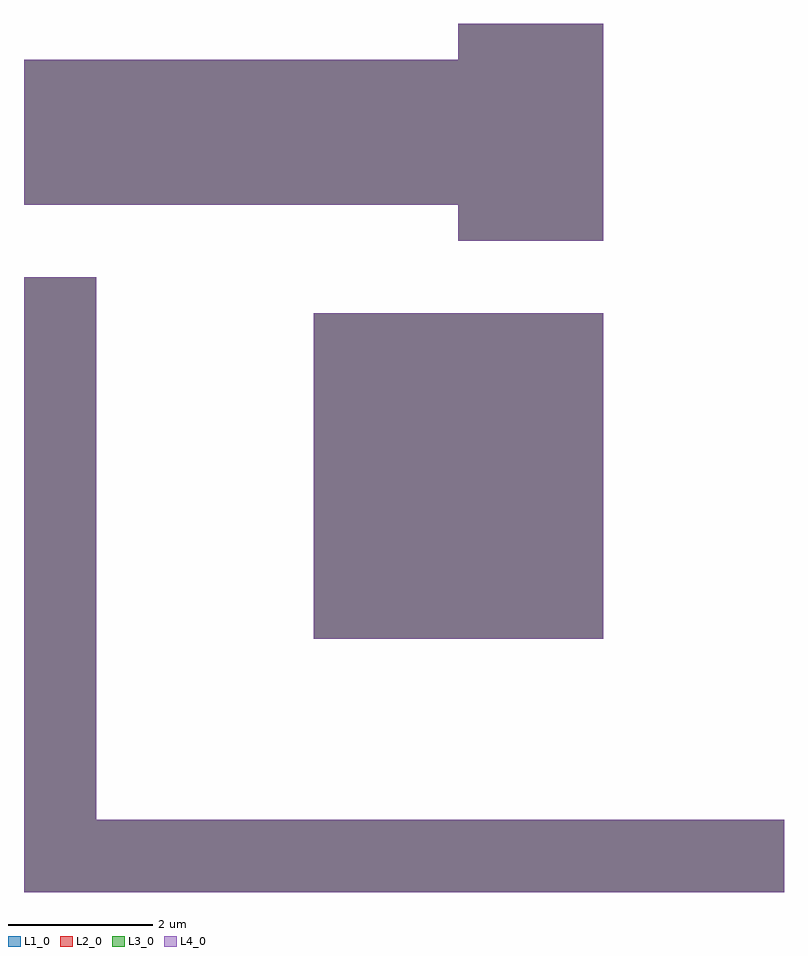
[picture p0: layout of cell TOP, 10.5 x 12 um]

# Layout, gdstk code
import gdstk
lib = gdstk.Library(unit=1e-6, precision=1e-09)
def R(c, l, rs):  # rectangles x0, y0, x1, y1
    for r in rs: c.add(gdstk.rectangle(r[:2], r[2:], *l))
def P(c, l, *ps):  # polygons
    for p in ps: c.add(gdstk.Polygon(p, *l))
L1_0 = (1, 0)
L2_0 = (2, 0)
L3_0 = (3, 0)
L4_0 = (4, 0)

top = lib.new_cell('TOP')
R(top, L1_0, [(4,3.5,8,8)])
P(top, L1_0, [(0,0),(0,8.5),(1,8.5),(1,1),(10.5,1),(10.5,0)],
  [(6,9),(6,9.5),(0,9.5),(0,11.5),(6,11.5),(6,12),(8,12),(8,9)])
R(top, L2_0, [(0,0,10.5,1), (0,1,1,8.5), (4,3.5,8,8)])
P(top, L2_0, [(6,9),(6,9.5),(0,9.5),(0,11.5),(6,11.5),(6,12),(8,12),(8,9)])
R(top, L3_0, [(4,3.5,8,8), (6,9,8,12), (0,9.5,6,11.5)])
P(top, L3_0, [(0,0),(0,8.5),(1,8.5),(1,1),(10.5,1),(10.5,0)])
R(top, L4_0, [(0,0,10.5,1), (0,1,1,8.5), (4,3.5,8,8), (6,9,8,12), (0,9.5,6,11.5)])

lib.write_gds('TOP.gds')
